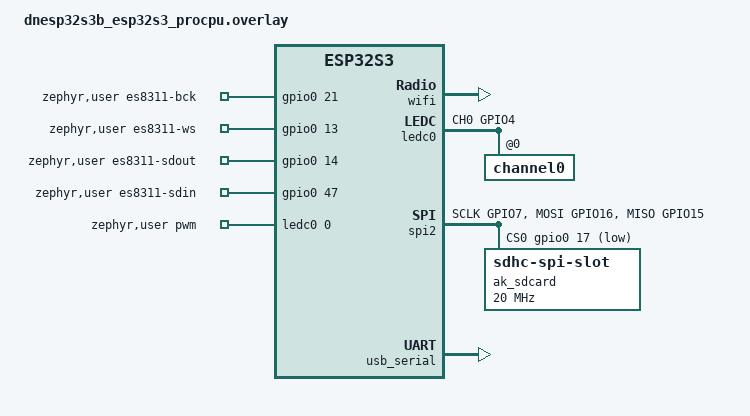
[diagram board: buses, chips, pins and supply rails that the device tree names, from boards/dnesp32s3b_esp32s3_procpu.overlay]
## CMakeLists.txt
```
# SPDX-License-Identifier: Apache-2.0
# atkbench（K1）：ATK DNESP32-S3B V1.1 bring-up + 第二 cube 部署链载体
# （K 批主载体：ES8311 音频 / 信任链 E2E / SD 资源推送 / 多真机 LN）。
# 凭证与路由地址经 cmake 变量注入（本地脚本传入，不入仓库——deploybench 同纪律）：
#   west build ... -- -DATKBENCH_WIFI_SSID=... -DATKBENCH_WIFI_PASSWORD=... \
#                    -DATKBENCH_ROUTER='"tcp/192.168.2.91:9955"'
cmake_minimum_required(VERSION 3.20.5)
find_package(Zephyr REQUIRED HINTS $ENV{ZEPHYR_BASE})
project(atkbench)

# F3-1 空凭据守卫（真机回归链教训）：SSID 为空 = 烤入空串 → net_mgmt
# 校验 -22 → WiFi 永不关联 → NET wdt 复位循环（症状与硬件无关——
# 归因期背光/lcd_cam/堆假设连环误判，实为构建注入空）。直接失败构建。
if(NOT DEFINED ATKBENCH_WIFI_SSID OR ATKBENCH_WIFI_SSID STREQUAL "")
  message(FATAL_ERROR "ATKBENCH_WIFI_SSID 为空——用 -DATKBENCH_WIFI_SSID=... 注入（仓外凭据纪律）")
endif()

target_compile_definitions(app PRIVATE
  ATKBENCH_WIFI_SSID="${ATKBENCH_WIFI_SSID}"
  ATKBENCH_WIFI_PASSWORD="${ATKBENCH_WIFI_PASSWORD}"
  ATKBENCH_ROUTER="${ATKBENCH_ROUTER}")
# TLS-E2E 助推旗标（外设失联降级告警——缺省不定义 = 判据不变；plan v1.104）
if(DEFINED ATKBENCH_SKIP_PERIPH_FAIL)
  target_compile_definitions(app PRIVATE ATKBENCH_SKIP_PERIPH_FAIL=1)
endif()

target_sources(app PRIVATE src/main.c src/ui_lcd.c)
```

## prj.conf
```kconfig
# SPDX-License-Identifier: Apache-2.0
# deploybench（板级十）：Agent→真机完整部署 E2E 板侧载体。
# 组合 = netbench（WiFi+zenoh+命令面）+ persistbench（flash 后端+WAMR+分步
# 安装）。prov 首启经 TS_TEST 烧入 flash（此后每次复位出自 flash——板级五
# 语义）；APP 由 Agent 侧经 zenoh 分块部署（client.py 复用 Agent deploy 链）。

# Tessera 框架（部署面全量：net + WAMR 运行时 + flash store）
CONFIG_TS_CORE=y
CONFIG_TS_SAFETY=y
CONFIG_TS_HAL=y
CONFIG_TS_NET=y
CONFIG_TS_NET_ZENOH=y
CONFIG_TS_TEST=y
CONFIG_TS_APP_WAMR=y
CONFIG_TS_STORE=y
CONFIG_FLASH=y
CONFIG_FLASH_MAP=y
CONFIG_TS_STORE_FLASH=y
CONFIG_REBOOT=y

# zenoh-pico（DR-22 钉 1.10.1；netbench 同档）
CONFIG_ZENOH_PICO=y
CONFIG_ZENOH_PICO_PUBLICATION=y
CONFIG_ZENOH_PICO_SUBSCRIPTION=y
CONFIG_ZENOH_PICO_QUERYABLE=y
CONFIG_ZENOH_PICO_LINK_TCP=y
CONFIG_ZENOH_PICO_LINK_UDP_UNICAST=y
CONFIG_ZENOH_PICO_MULTI_THREAD=y
CONFIG_POSIX_API=y

# 网络：WiFi STA + DHCPv4 + lwIP（netbench 同档）
CONFIG_NETWORKING=y
CONFIG_NET_L2_ETHERNET=y
CONFIG_NET_IPV4=y
CONFIG_NET_ARP=y
CONFIG_NET_UDP=y
CONFIG_NET_TCP=y
CONFIG_NET_SOCKETS=y
CONFIG_NET_DHCPV4=y
CONFIG_DNS_RESOLVER=y
CONFIG_WIFI=y
# NET_MAX_CONTEXTS 权威 = 板级 conf 4（R2 时代 RCVTIMEO 静态面实证——
# prj.conf 声明≠生效，MP R0 纪律：查 .config）

# MP 首应用（2026-10-19 审计 R4 处置）：TX 动态池上限 32→16——峰值堆压
# 51.2K→25.6K（系统堆 58368 的 50% 线内），wifi TX 突发 ENOMEM 噪声缓解
#（部署分块突发期 esp32_wifi_adapter allocation failed——FIX-1 残余）。
CONFIG_ESP32_WIFI_DYNAMIC_TX_BUFFER_NUM=16

# 板级专项（BV1-R C6 破案 2026-10-19）：rx_q[0] 栈溢出 FATAL（缺省 1500B
# 被部署突发压穿）。修复 = rx 栈 4096。
# 注：ESP32_WIFI_STATIC_TX_BUFFER 两轮实测均劣化（+SPIRAM heap = 关联活
# 数据面死〔RX DMA 缓冲入 PSRAM → DHCP 不可达〕；单用 = 关联直接失败
# rc=-134——4.5-rc1 驱动/hal 双层 TX buffer Kconfig 映射存疑），撤回；
# wifi TX 维持 DYNAMIC，ENOMEM 缓解随 map 重平专项。
# rx_q 线程栈 1500→4096——FATAL 直接死因防护
CONFIG_NET_RX_STACK_SIZE=4096

# zenoh-pico 会话/读任务内存（netbench 档位；堆值权威 = 板级 conf 58368——
# prj.conf 声明值被 boards/*.conf 覆盖，声明≠生效（MP R0 陷阱，查 .config）
CONFIG_MAIN_STACK_SIZE=8192
CONFIG_THREAD_STACK_INFO=y
CONFIG_DYNAMIC_THREAD=y
CONFIG_DYNAMIC_THREAD_ALLOC=y
CONFIG_DYNAMIC_THREAD_PREFER_ALLOC=y
CONFIG_DYNAMIC_THREAD_STACK_SIZE=8192
CONFIG_POSIX_THREAD_THREADS_MAX=8
CONFIG_MAX_PTHREAD_MUTEX_COUNT=16
CONFIG_MAX_PTHREAD_COND_COUNT=16

CONFIG_ENTROPY_GENERATOR=y
CONFIG_PRINTK=y
# 主线程降优先级（bench 同款：net_wq 8 / APP 10 优先于观测线程）
CONFIG_MAIN_THREAD_PRIORITY=15

# K3 前置：信任根表分区上板（atkbench = 信任链真机 E2E 载体）
CONFIG_TS_STORE_TRUST=y

# K2（Q-44/DEC-61）：ES8311 音频输入输出（av 面 + 全 codec 后端 + I2C 控制）
CONFIG_TS_HAL_AV=y
CONFIG_TS_DRV_ES8311=y
CONFIG_I2C=y

# K4（net+SD 资源推送 E2E）：SD 卡栈（dsdbench 同款——atk 板载 TF 槽 SPI2）
# + ts-fs 面（fs natives + fs_paths manifest 门）
CONFIG_TS_HAL_FS=y
CONFIG_DISK_ACCESS=y
CONFIG_DISK_DRIVERS=y
CONFIG_DISK_DRIVER_SDMMC=y
CONFIG_SDHC=y
CONFIG_SPI_SDHC=y
CONFIG_FILE_SYSTEM=y
CONFIG_FAT_FILESYSTEM_ELM=y
CONFIG_FS_FATFS_LFN=y
CONFIG_TS_PERIPH=y

# F3（DEC-62② owner 修订）：LCD 本地确认路呈现面 = LVGL（树内 ST7789V 走
# esp32 lcd_cam 并口 MIPI-DBI——板 DTS chosen 已挂；背光 = XL9555 P0-7
# 裸 I2C〔pca9555 驱动维持禁用——K2 es8311 互踩规避同源〕）。呈现属设备
# 形态面非安全面（R10 §6）；文本面 ASCII（Montserrat 14——CJK 字库不入 V1）。
CONFIG_DISPLAY=y
CONFIG_LVGL=y
CONFIG_LV_USE_LABEL=y
CONFIG_LV_FONT_MONTSERRAT_14=y
# DRAM 预算（F3-1 三轮实证）：LV_MEM_SIZE_KILOBYTES 为死配置（glue 强制
# LV_STDLIB_CUSTOM）；LVGL 全部分配走 LV_Z_MEM_POOL——**2048 缺省/6144 均
# 运行时崩**（cache/theme 样式 NULL 写，EXCCAUSE 29/28 真机实证），
# **16384 = 运行时下限**（全链绿实证）；HEAP_LIB_C 路径亦崩（上游域）。
# VDB 3%（≈4.6KB 静态）。WiFi 归因更正：恒 -22 = 空凭据烤入（env.sh 变量
# 名 TS_WIFI_* 非 DEPLOYBENCH_*——CMakeLists 已加空凭据守卫）。
CONFIG_LV_Z_MEM_POOL_SYS_HEAP=y
CONFIG_LV_Z_MEM_POOL_SIZE=16384
CONFIG_LV_Z_VDB_SIZE=1

# P1-2（DEC-63）：TLS mTLS 命令面（tls/ locator + prov 15 键三元组）。
# ZENOH_PICO_LINK_TLS = 仓携带补丁面（ext/zenoh-pico-tls.patch——上游 1.10.1
# Zephyr 集成缺特性行，DEC-63①）；内容长钳 4096（握手面 EC 证书链 <4KB 实测）
# + mbedtls 专用静态堆 16KB（握手缓冲有界化——Q-47⑤ 内存纪律：不与系统池混跑）。
CONFIG_ZENOH_PICO_LINK_TLS=y
CONFIG_TS_NET_TLS=y
CONFIG_MBEDTLS=y
# 实测设计事实（DEC-63④ E2E 期定案）：zenohd 1.10.1（rustls）**仅收 TLS1.3**
# （TLS1.2-only 客户端 alert 70——openssl s_client 实证）；板侧双协议使能
# （1.3 对 zenohd，1.2 留未来服务端）
CONFIG_MBEDTLS_SSL_PROTO_TLS1_2=y
CONFIG_MBEDTLS_SSL_PROTO_TLS1_3=y
CONFIG_MBEDTLS_SSL_TLS1_3_KEY_EXCHANGE_MODE_EPHEMERAL_ENABLED=y
CONFIG_MBEDTLS_X509_CRT_PARSE_C=y
# ECDHE-ECDSA + AES-128-GCM-SHA256 相干集（DEC-63⑤ 有界化——伞形全集会被
# Kconfig 依赖链要求 RSA/JPAKE 等额外 PSA want，flash 代价大）
CONFIG_MBEDTLS_KEY_EXCHANGE_ECDHE_ECDSA_ENABLED=y
CONFIG_PSA_WANT_ALG_GCM=y
CONFIG_PSA_WANT_KEY_TYPE_AES=y
# tf-psa-crypto 相干集（EC P-256 全链：X509 解析 → PK → ECDHE-ECDSA）
CONFIG_PSA_WANT_KEY_TYPE_ECC_PUBLIC_KEY=y
CONFIG_PSA_WANT_KEY_TYPE_ECC_KEY_PAIR_IMPORT=y
CONFIG_PSA_WANT_ALG_ECDH=y
CONFIG_PSA_WANT_ALG_ECDSA=y
CONFIG_PSA_WANT_ALG_SHA_256=y
CONFIG_PSA_WANT_ECC_SECP_R1_256=y
# TLS1.3 key_share 缺省组含 X25519（rustls 服务端亦偏好）——PSA want 缺失
# = 板侧握手本地失败（zenohd 无到达痕迹实证）；SHA-384 = 握手转录面补齐
CONFIG_PSA_WANT_ECC_MONTGOMERY_255=y
CONFIG_PSA_WANT_ALG_SHA_384=y
CONFIG_MBEDTLS_SSL_IN_CONTENT_LEN=4096
CONFIG_MBEDTLS_SSL_OUT_CONTENT_LEN=4096
CONFIG_MBEDTLS_ENABLE_HEAP=y
# 31744→24576（V0.16.0 平移批：现行 prov = 明文 tcp/9957 形态，TLS 面闲置——
# 对位释放 7168B 补 v4.5.0 final 静态面涨幅；TLS 形态复验时回抬）
CONFIG_MBEDTLS_HEAP_SIZE=24576
# PSA key slot 16→4（同上平移批——bench/zenoh 面双 key 足够；slot 结构
# 数百 B/个静态）+ net pkt 14→12（单 context 单连接 bench 口径）
CONFIG_MBEDTLS_PSA_KEY_SLOT_COUNT=4
CONFIG_NET_PKT_RX_COUNT=12
CONFIG_NET_PKT_TX_COUNT=12
CONFIG_NET_BUF_RX_COUNT=24
CONFIG_NET_BUF_TX_COUNT=24
CONFIG_MBEDTLS_BASE64_C=y
```

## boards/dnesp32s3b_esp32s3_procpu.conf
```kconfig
# SPDX-License-Identifier: Apache-2.0
# K1：ATK DNESP32-S3B 内存/后端片段 = deploybench 同档（PSRAM 八线 8MB +
# WAMR 256KB 入 PSRAM + 系统池 netbench 档）。K5：large 档开放（槽 256KB
# + LOAD_MAX 262144 + 装载缓冲 PSRAM 化——caps.tiers 自报 [small,large]）。
CONFIG_ESP_SPIRAM=y
CONFIG_SPIRAM_MODE_OCT=y
CONFIG_ESP_SPIRAM_MEMTEST=y
CONFIG_TS_APP_PSRAM_HEAP=y
CONFIG_TS_APP_WAMR_HEAP=524288
CONFIG_TS_STORE_SLOT_SIZE=524288
# K1 122880 → F3-1 102400 → P1 批 98304 → P1-2 TLS 69632：LVGL 呈现面
# （16KB 专用池 + VDB + UI 线程栈）+ P1 静态面（msg FIFO/perm 名单）+
# **TLS 面**（mbedtls 专用堆 16KB + prov_tls 1.8KB + glue b64 暂存 2.7KB
# + PSA/ssl 静态——DEC-63⑤ 重平，溢出 5660B 实证驱动）。WiFi -22 归因
# 更正 = 空凭据烤入（非堆不足——CMakeLists 守卫防再犯）。
# → V0.16.0 平移 58368 → 50176 → 41984（Zephyr v4.5.0-rc1 → v4.5.0 正式
# 版收口静态面再涨——dram0 溢出 6716B→-8192 后余溢 4732B→再 -8192 构建绿；
# bss 大头 mbedtls 31KB/tessera 18.8KB/lvgl 16.6KB 无单域暴涨 = 全域累积。
# 构建级判定，真机复验待凭据配置后重烧）。
CONFIG_HEAP_MEM_POOL_SIZE=61440
# R2（DEC-64②）：RCVTIMEO 静态面（net_context 选项 + sockets rodata）溢出
# 140B 实证驱动——bench 仅 1 条 zenoh context，12→4 释放富余（每 context
# 数百 B 静态数组）。
CONFIG_NET_MAX_CONTEXTS=4
CONFIG_TS_APP_LOAD_MAX=262144
CONFIG_TS_APP_PSRAM_LOAD_BUF=y
# PWM 后端（板载 LEDB = IO4；deploybench 同款绑定）
CONFIG_PWM=y
CONFIG_TS_DRV_PWM=y
CONFIG_TS_SAFETY_MAX_CHANNELS=4
# 验签双区 scratch + 8192 主栈（4.5 帧深防御——教训 31⑤ 同型）
CONFIG_MAIN_STACK_SIZE=8192
# 双实例并行 + 槽池 4（overlay 槽 c/d）+ kv
CONFIG_TS_APP_MAX_INSTANCES=2
CONFIG_TS_STORE_SLOT_COUNT=4
CONFIG_TS_APP_THREAD_STACK=8192
CONFIG_TS_STORE_KV=y
CONFIG_TS_VERIFY_SCRATCH=430080
CONFIG_TS_APP_PSRAM_VERIFY_BUF=y
CONFIG_ESP_SPIRAM_HEAP_SIZE=4194304
CONFIG_ESPTOOLPY_FLASHSIZE_8MB=y
# R5-V①（DEC-65）：pico pthread 栈池 4→2——执行器单线程设计（单 executor
# 轮转 read/lease/keep-alive 三 fut，一槽运行一槽备援），每槽 8192 =
# MAIN_STACK 同源（system.c Z_PTHREAD_STACK_SIZE_DEFAULT）。省 16384B
# 静态 DRAM（map 实证 = system.c 32KB 大头）换 shell/log 静态面 + 堆余量。
CONFIG_ZENOH_PICO_THREADS_NUM=2
# R5-V②（DEC-65①）：单 UART 三合一——SHELL+SHELL_LOG_BACKEND+LOG 汇
# printk 正牌路径；CONSOLE=n 防双路；IMMEDIATE（无 log 线程栈，DRAM 省
# ~2KB；日志序与终端序一致）。
CONFIG_SHELL=y
CONFIG_SHELL_LOG_BACKEND=y
CONFIG_LOG=y
CONFIG_LOG_MODE_IMMEDIATE=y
CONFIG_LOG_PRINTK=y
CONFIG_CONSOLE=n
CONFIG_TS_INTERACT=y
# R5-V③ 真机定案：shell 栈 2048 缺省装不下 confirm 链（stage_commit 的
# meta flash 写 + shell_print——2026-10-18 EXCCAUSE 0 野跳 FATAL，AKP2 后
# 即崩实证）→ 4096（重平余量内）；SENTINEL = 溢出从静默腐蚀变点名 FATAL。
CONFIG_SHELL_STACK_SIZE=4096
CONFIG_STACK_SENTINEL=y
# R5-V③ 真机定案（SENTINEL 点名）：sysworkq 栈 = 板缺省 1024，WiFi/DHCP
# 事件在 zenoh 建链窗溢出（boot+7s Stack overflow on sysworkq 实证）——
# 此前无 SENTINEL 即静默腐蚀（同象嫌疑：EXCCAUSE 0 野跳族）→ 4096。
CONFIG_SYSTEM_WORKQUEUE_STACK_SIZE=4096
```

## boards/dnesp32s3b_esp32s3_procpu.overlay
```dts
/*
 * K1：ATK DNESP32-S3B V1.1（dnesp32s3b 目标）。板事实 = owner 原理图/
 * 引脚表（/home/emb/docs/atk_dnesp32s3B，仓外）+ 树内板文件核实：
 * 16MB flash（AMP 16M 布局——与 xiao 的 4M 式布局不同，slot1 =
 * 0x5F0000..0xBC0000）、8MB 八线 PSRAM、WiFi、console uart0（经 CH340）。
 * ts-store 分区 carved 自 slot1 空闲区（boot/sys/slot0/appcpu/lpcore/
 * storage 原样保留，esptool 偏移零变化）；4KB 对齐 = esp32s3 擦除块；
 * 尺寸耦合 slot = CONFIG_TS_STORE_SLOT_SIZE（part.c BUILD_ASSERT 把关）。
 * K3 前置一步到位：ts_trust 8KB（双副本 2×4KB——Q-43③）。
 * 板载 LEDB = IO4（PWM demo 判据绑定——deploybench 同型）。
 */
#include <zephyr/dt-bindings/pinctrl/esp32s3-pinctrl.h>

&wifi {
	status = "okay";
};

&pinctrl {
	ak_ledc0: ak_ledc0 {
		group1 {
			pinmux = <LEDC_CH0_GPIO4>;
			output-enable;
		};
	};

	/* K4（SD = 板载 TF 槽 @ SPI2——引脚分配表：SCK=IO7/MISO=IO15/
	 * MOSI=IO16/CS=IO17；dsdbench 同型 sdhc-spi-slot） */
	ak_spi2_sd: ak_spi2_sd {
		group1 {
			pinmux = <SPIM2_SCLK_GPIO7>,
				 <SPIM2_MOSI_GPIO16>;
			output-enable;
		};
		group2 {
			pinmux = <SPIM2_MISO_GPIO15>;
			input-enable;
			bias-pull-up;
		};
	};
};

&ledc0 {
	status = "okay";
	pinctrl-0 = <&ak_ledc0>;
	pinctrl-names = "default";
	#address-cells = <1>;
	#size-cells = <0>;
	channel0@0 {
		reg = <0x0>;
		timer = <0>;
	};
};

&spi2 {
	status = "okay";
	#address-cells = <1>;
	#size-cells = <0>;
	pinctrl-0 = <&ak_spi2_sd>;
	pinctrl-names = "default";
	cs-gpios = <&gpio0 17 GPIO_ACTIVE_LOW>;

	ak_sdcard: sdcard@0 {
		compatible = "zephyr,sdhc-spi-slot";
		reg = <0>;
		status = "okay";

		mmc {
			compatible = "zephyr,sdmmc-disk";
			disk-name = "SD";
			status = "okay";
		};

		spi-max-frequency = <20000000>;
	};
};

/delete-node/ &slot1_partition;

/* 板载真硅 = boya 16MB（bootloader 实报 + esptool JEDEC 0x68:0x4018——
 * 2026-10-17 二次勘误，前「gd 8MB」登记翻案；本表 8MB reg 声明为保守
 * 兼容形态：全部分区 <8MB，16MB 硅上仅用下半，功能等价）。
 * console = USJ（曾因全量重建回退 console=uart0 造成"启动停滞"假象——
 * dev-env 教训 38。2026-10-17 修正注记：uart0/CH343 打印路实测可用
 * 〔教训 38 修正——dev-env v2.28〕，console=uart0 为可运营替代形态，
 * 烧录/复位可经 CH343 与 console 解耦。） */
&usb_serial {
	status = "okay";
};

/ {
	chosen {
		zephyr,console = &uart0;
		zephyr,shell-uart = &uart0;
	};
};

&flash0 {
	reg = <0x0 0x800000>;

	partitions {
		ts_prov_part: partition@5f0000 {
			compatible = "zephyr,mapped-partition";
			label = "ts-prov";
			reg = <0x5f0000 0x1000>;
		};
		ts_meta_part: partition@5f1000 {
			compatible = "zephyr,mapped-partition";
			label = "ts-meta";
			reg = <0x5f1000 0x2000>;
		};
		/* K5（large 档）：槽统一 512KB（COSE 内嵌载荷副本 = 包 ≈2×wasm——256KB wasm 上限需 512KB 槽）（GATE_LARGE 同级——LOAD_MAX 同步
		 * 262144 + PSRAM 装载缓冲；既有 32KB 槽池布局重排，prov/meta
		 * 原位不动〔存量 trust/kv/noinit 内容随重刷重建〕） */
		ts_slot_a_part: partition@5f3000 {
			compatible = "zephyr,mapped-partition";
			label = "ts-slot-a";
			reg = <0x5f3000 0x80000>;
		};
		ts_slot_b_part: partition@673000 {
			compatible = "zephyr,mapped-partition";
			label = "ts-slot-b";
			reg = <0x673000 0x80000>;
		};
		/* 双实例槽池（Q-32②）：entry1 双槽乒乓对 {2,3} */
		ts_slot_c_part: partition@6f3000 {
			compatible = "zephyr,mapped-partition";
			label = "ts-slot-c";
			reg = <0x6f3000 0x80000>;
		};
		ts_slot_d_part: partition@773000 {
			compatible = "zephyr,mapped-partition";
			label = "ts-slot-d";
			reg = <0x773000 0x80000>;
		};
		ts_noinit_part: partition@7f3000 {
			compatible = "zephyr,mapped-partition";
			label = "ts-noinit";
			reg = <0x7f3000 0x1000>;
		};
		/* APP 状态 kv 8KB（DR-15） */
		ts_kv_part: partition@7f4000 {
			compatible = "zephyr,mapped-partition";
			label = "ts-kv";
			reg = <0x7f4000 0x2000>;
		};
		/* K3（Q-43③）：信任根表 8KB（双副本 2×4KB 乒乓） */
		ts_trust_part: partition@7f6000 {
			compatible = "zephyr,mapped-partition";
			label = "ts-trust";
			reg = <0x7f6000 0x2000>;
		};
		/* fw-b：未来 MCUmgr 固件第二 slot 预留（DEC-23；V1 未接线） */
		fw_b_part: partition@7f8000 {
			label = "fw-b";
			reg = <0x7f8000 0x3c8000>;
		};
	};
};

/* K2：ES8311 音频四引脚（owner V1.1 引脚表：BCK=21/WS=13/SDOUT=14/SDIN=47）
 * + XL9555 禁用（SPK_EN 裸 I2C 驱动——pca9555 驱动缓存互踩规避）。
 * F3-1 连带：lcd_bl regulator 节点也引用 io_expander——背光同走裸 I2C
 * （ui_lcd.c：XL9555 OP0=0x02/CF0=0x06 bit7 高有效），节点随之禁用。 */
&io_expander {
	status = "disabled";
};

&lcd_bl {
	status = "disabled";
};

/ {
	zephyr,user {
		/* PWM 后端绑定（板级九模式）：uid 匹配通道逻辑名 */
		pwm-uid = "akpwm";
		pwms = <&ledc0 0 1000000 0>;
		/* ES8311 I2S 面（es8311.c 消费——pdm.c 同族 DT 纪律） */
		es8311-bck-gpios = <&gpio0 21 0>;
		es8311-ws-gpios = <&gpio0 13 0>;
		es8311-sdout-gpios = <&gpio0 14 0>;
		es8311-sdin-gpios = <&gpio0 47 0>;
	};
};
```

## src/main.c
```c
/* SPDX-License-Identifier: Apache-2.0 */
/* atkbench（K1）：ATK DNESP32-S3B bring-up + 第二 cube 部署链载体
 * （docs/board-deploy.md）。链路：WiFi STA（glue = netbench 板级七定稿：
 * 固定 2s 无抖动重试 + 断线 DHCP 重启 + media_down 下沉）→ prov flash 持久
 * （首启 TS_TEST 烧入，此后复位全出自 flash——板级五语义）→ ts_core_boot
 * （net_init → zenoh 命令面〔sys/app-* 分步安装链〕+ 步骤 8 slot 装载）。
 * 部署编排全部在 Agent 侧（client.py 复用 deploy 链：发现→租约→分块→
 * verify→activate→get-app）；板侧只做：激活检测 → 自动暖复位 → 复位后
 * APP 自 slot 装载运行的观测宣告。
 *
 * AK* console 行 = 板侧时间线（deploybench 同型）；DEPLOY_* = client 侧判定。
 * 凭证经 cmake 变量注入（ATKBENCH_WIFI_*，不入仓库）。 */
#include <string.h>
#include <zephyr/drivers/gpio.h>
#include <zephyr/kernel.h>
#include <zephyr/net/net_event.h>
#include <zephyr/net/net_if.h>
#include <zephyr/net/net_mgmt.h>
#include <zephyr/net/wifi_mgmt.h>
#include <zephyr/net/dhcpv4.h> /* 须在 net_if.h 之后（参数表内 struct net_if 可见性） */
#include <zephyr/sys/atomic.h>
#include <zephyr/sys/reboot.h>
#include <ff.h>
#include <zephyr/fs/fs.h>
#include <ts/appmgr.h>
#include <ts/core.h>
#include <ts/hal.h>
#ifdef CONFIG_TS_PERIPH
#include <ts/periph.h> /* F4：peripherals 自报 */
#endif
#include <ts/net.h>
#include <ts/safety.h>
#include <ts/store.h>

#include "ui_lcd.h" /* F3-1：LCD 呈现面（LVGL） */

#ifndef ATKBENCH_WIFI_SSID
#define ATKBENCH_WIFI_SSID ""
#endif
#ifndef ATKBENCH_WIFI_PASSWORD
#define ATKBENCH_WIFI_PASSWORD ""
#endif
#ifndef ATKBENCH_ROUTER
#define ATKBENCH_ROUTER "tcp/192.168.2.91:9955"
#endif

/* ---- WiFi glue（netbench 板级七定稿模式，全文照搬语义） ------------------ */

static struct net_mgmt_event_callback ip_cb;
static struct net_mgmt_event_callback wifi_cb;
static struct k_sem ip_ready;
static atomic_t assoc_ok_evt;
static atomic_t disconn_evt;
static struct k_work_delayable wifi_retry_work;
static struct k_work assoc_work;
static struct wifi_connect_req_params cnx;

static void wifi_try_connect(struct k_work *w)
{
	ARG_UNUSED(w);
	int rc = net_mgmt(NET_REQUEST_WIFI_CONNECT, net_if_get_default(),
			  &cnx, sizeof(cnx));

	if (rc != 0) {
		k_work_reschedule(&wifi_retry_work, K_SECONDS(2));
	}
}

static void wifi_assoc_work(struct k_work *w)
{
	/* net_mgmt 一律工作项上下文（回调内重入自激——板级七实证） */
	ARG_UNUSED(w);
	struct net_if *iface = net_if_get_default();

	if (atomic_set(&disconn_evt, 0) == 1) {
		ts_net_session_media_down();
		net_dhcpv4_restart(iface);
		k_work_reschedule(&wifi_retry_work, K_SECONDS(2));
	}
	if (atomic_set(&assoc_ok_evt, 0) == 1) {
		struct wifi_ps_params ps = {.enabled = WIFI_PS_DISABLED};

		(void)net_mgmt(NET_REQUEST_WIFI_PS, iface, &ps, sizeof(ps));
		printk("AKw associated t=%u\n", (unsigned)k_uptime_get_32());
	}
}

static void ip_handler(struct net_mgmt_event_callback *cb, uint64_t event,
		       struct net_if *iface)
{
	ARG_UNUSED(cb);
	if (event == NET_EVENT_IPV4_ADDR_ADD && net_if_is_up(iface)) {
		k_sem_give(&ip_ready);
	}
}

static void wifi_handler(struct net_mgmt_event_callback *cb, uint64_t event,
			 struct net_if *iface)
{
	ARG_UNUSED(iface);
	if (event == NET_EVENT_WIFI_CONNECT_RESULT) {
		const struct wifi_status *st =
			(const struct wifi_status *)cb->info;

		if (st != NULL && st->status == 0) {
			atomic_set(&assoc_ok_evt, 1);
		}
	} else if (event == NET_EVENT_WIFI_DISCONNECT_RESULT) {
		atomic_set(&disconn_evt, 1);
	}
	if (atomic_get(&assoc_ok_evt) == 1 || atomic_get(&disconn_evt) == 1) {
		k_work_submit(&assoc_work);
	}
}

/* {"v":1,"node_id":"akn","cube_id":"akc","routers":["tcp/192.168.2.91:9955"],
 *  "pk0":32×00,"pk1":32×00,"cred":"","pwr_ma":500,"estop":0}（定稿键序，
 *  prov.c 固定走查序）。**数组 = 脚本机械生成**（~/project/logs/gen_prov_image.py
 *  ——gen_db_prov.py 迁移失落后的重写；手抄禁令，教训 27）。pk 全零：V1
 *  固件验签 = COSE 结构级（K2 后 ES8311/信任链载体——真验签链已在，
 *  K3 信任表上线后实机多根）。 */
/* v2 12 对形态（F3 · DEC-62①）：v1 前缀 + deploy_mode=orchestrated +
 * estop_remote_clear=0（本地清除板）+ lconf=1（安装闸开——真机判据
 * 载体）。**数组 = 脚本机械生成**（~/project/logs/gen_prov_image.py；
 * 手抄禁令，教训 27）。pk 全零：TEST 有效集 = 测试根 ∪ 信任表（K3）。 */
/* 机械生成（gen_prov_image.py——重跑复现；禁手抄，教训 27） */
static const uint8_t prov_blob[] = {
	0xac, 0x61, 0x76, 0x02, 0x67, 0x6e, 0x6f, 0x64, 0x65, 0x5f, 0x69, 0x64,
	0x63, 0x61, 0x6b, 0x6e, 0x67, 0x63, 0x75, 0x62, 0x65, 0x5f, 0x69, 0x64,
	0x63, 0x61, 0x6b, 0x63, 0x67, 0x72, 0x6f, 0x75, 0x74, 0x65, 0x72, 0x73,
	0x81, 0x75, 0x74, 0x63, 0x70, 0x2f, 0x31, 0x39, 0x32, 0x2e, 0x31, 0x36,
	0x38, 0x2e, 0x32, 0x2e, 0x39, 0x31, 0x3a, 0x39, 0x39, 0x35, 0x35, 0x63,
	0x70, 0x6b, 0x30, 0x58, 0x20, 0x00, 0x00, 0x00, 0x00, 0x00, 0x00, 0x00,
	0x00, 0x00, 0x00, 0x00, 0x00, 0x00, 0x00, 0x00, 0x00, 0x00, 0x00, 0x00,
	0x00, 0x00, 0x00, 0x00, 0x00, 0x00, 0x00, 0x00, 0x00, 0x00, 0x00, 0x00,
	0x00, 0x63, 0x70, 0x6b, 0x31, 0x58, 0x20, 0x00, 0x00, 0x00, 0x00, 0x00,
	0x00, 0x00, 0x00, 0x00, 0x00, 0x00, 0x00, 0x00, 0x00, 0x00, 0x00, 0x00,
	0x00, 0x00, 0x00, 0x00, 0x00, 0x00, 0x00, 0x00, 0x00, 0x00, 0x00, 0x00,
	0x00, 0x00, 0x00, 0x64, 0x63, 0x72, 0x65, 0x64, 0x60, 0x66, 0x70, 0x77,
	0x72, 0x5f, 0x6d, 0x61, 0x19, 0x01, 0xf4, 0x65, 0x65, 0x73, 0x74, 0x6f,
	0x70, 0x00, 0x6b, 0x64, 0x65, 0x70, 0x6c, 0x6f, 0x79, 0x5f, 0x6d, 0x6f,
	0x64, 0x65, 0x00, 0x72, 0x65, 0x73, 0x74, 0x6f, 0x70, 0x5f, 0x72, 0x65,
	0x6d, 0x6f, 0x74, 0x65, 0x5f, 0x63, 0x6c, 0x65, 0x61, 0x72, 0x00, 0x65,
	0x6c, 0x63, 0x6f, 0x6e, 0x66, 0x01,
};
/* 198B（走查序由 ts_store_prov_validate 校验） */

/* APP 部署目标通道（gpio inst 0 = dbled；PWM inst 1 = dbpwm）
 * MD1.1 增 PWM 通道：D3 呼吸灯 demo 限幅判据（limits max = 5000Hz|700‰，
 * periphbench PP3 同款——超限请求 → 落 700‰ + 审计 res=TS_E_RANGE） */
static const ts_out_ch_t ak_led = {
	.uid = "akled", .kind = TS_CH_GPIO,
	.poweron = {.b = false}, .linkloss = {.b = false}, .fault = {.b = false},
};
static const ts_hal_dev_desc_t ak_dev = {
	.uid = "akled", .kind = TS_DEV_GPIO_OUT,
};
/* PWM 打包域（LLD-ts-hal §3）：高 16 = hz/100、低 16 = permille */
#define PWM_PACK(hz, pm) ((((hz) / 100U) << 16) | (pm))
static const ts_out_ch_t ak_pwm = {
	.uid = "akpwm", .kind = TS_CH_PWM,
	.poweron = {.u = PWM_PACK(1000, 0)},
	.linkloss = {.u = PWM_PACK(1000, 0)},
	.fault = {.u = PWM_PACK(1000, 0)},
	.limits = {.min = PWM_PACK(1000, 0), .max = PWM_PACK(1000, 700),
		   .slew_per_ms = 0},
};
static const ts_hal_dev_desc_t ak_pwm_dev = {
	.uid = "akpwm", .kind = TS_DEV_PWM,
};

/* ---- 部署观测线程：激活检测 → 暖复位 → APP 运行宣告 --------------------- */

/* K2（Q-44/DEC-61）：ES8311 音频输入输出真机自检（AKa* console 行）。
 * 录音判据 = 连续 8 帧非全零且峰值超阈（ADC 链活）；放音判据 = SPK_EN
 * 开 + 正弦帧写链 OK（声学侧由人耳/示波器确认——console 判据 = 驱动链）。*/
static void audio_selftest(void)
{
	int rc = ts_drv_es8311_init();

	printk("AKa0 es8311 init rc=%d\n", rc);
	if (rc != 0) {
		printk("AK AUDIO FAIL（无芯片/初始化拒——i2c/i2s 链见上）\n");
#ifdef ATKBENCH_SKIP_PERIPH_FAIL
		printk("AK WARN audio 降级（SKIP_PERIPH——TLS E2E）\n");
#endif
		return;
	}
	/* 静音保底：功放关断（NL 低有效——常静音态）。放音自检改
	 * ATKBENCH_AUDIO_PLAY 门控（默认关——板卡常驻安静；判据重跑 =
	 * cmake -DATKBENCH_AUDIO_PLAY=1）。 */
	ts_drv_es8311_spk(false);
	/* 录音：8 帧（160ms×8）——峰值统计 */
	static int16_t smp[320];
	uint32_t peak_all = 0;

	for (int f = 0; f < 8; f++) {
		int n = ts_drv_es8311_capture((uint8_t *)smp, 640);

		if (n != 640) {
			printk("AKa1 capture f=%d rc=%d\n", f, n);
			printk("AK AUDIO FAIL（录音链）\n");
			return;
		}
		uint32_t peak = 0;

		for (int i = 0; i < 320; i++) {
			uint32_t a = (smp[i] < 0) ? (uint32_t)(-smp[i]) : (uint32_t)smp[i];

			if (a > peak) {
				peak = a;
			}
		}
		if (peak > peak_all) {
			peak_all = peak;
		}
	}
	printk("AKa1 capture 8 frames peak=%u（>32 = ADC 链活）\n",
	       (unsigned)peak_all);
	if (peak_all <= 32) {
		printk("AKa1 frame head:");
		for (int i = 0; i < 16; i++) {
			printk(" %02x", ((uint8_t *)smp)[i]);
		}
		printk("\n");
		ts_drv_es8311_diag();
		/* 静默不早退——继续放音判据（二分：codec 整体死 vs ADC 特定静默）*/
	}
	/* 放音：SPK_EN 开 + 4 帧正弦（~1kHz：16 采样/周期 @16k）+ 关
	 * （ATKBENCH_AUDIO_PLAY 门控——默认关） */
#ifndef ATKBENCH_AUDIO_PLAY
	printk("AKa2 playback skipped（默认静音——ATKBENCH_AUDIO_PLAY=1 启用）\n");
	printk("AK AUDIO PASS（record-only，peak=%u）\n", (unsigned)peak_all);
	return;
#endif
	(void)ts_drv_es8311_spk(true);
	for (int f = 0; f < 4; f++) {
		for (int i = 0; i < 320; i++) {
			static const int16_t sin16[16] = {
				0, 12539, 23170, 30273, 32767, 30273, 23170, 12539,
				0, -12539, -23170, -30273, -32767, -30273, -23170, -12539,
			};

			smp[i] = sin16[i % 16] / 4; /* 幅度 -18dB（安全听感档）*/
		}
		int n = ts_drv_es8311_write((const uint8_t *)smp, 640);

		if (n != 640) {
			printk("AKa2 write f=%d rc=%d\n", f, n);
			printk("AK AUDIO FAIL（放音链）\n");
			return;
		}
	}
	k_msleep(150); /* 尾帧播完 */
	(void)ts_drv_es8311_spk(false);
	printk("AKa2 playback 4 sine frames + SPK_EN toggle OK\n");
	if (peak_all <= 32) {
		printk("AK AUDIO FAIL（录音静默但放音链 OK——ADC 侧配置域）\n");
		return;
	}
	printk("AK AUDIO PASS\n");
}

static void deploy_watch(void *p1, void *p2, void *p3)
{
	ARG_UNUSED(p1);
	ARG_UNUSED(p2);
	ARG_UNUSED(p3);
#ifdef CONFIG_TS_DRV_ES8311
	audio_selftest(); /* K2：上电即测（音频链独立于 zenoh）*/
#endif
	/* 等 zenoh 会话（WiFi+DHCP+zenoh 全链；上电首启 ~8s 量级） */
	for (int i = 0; i < 600 && ts_net_state() != TS_NET_CONNECTED; i++) {
		k_msleep(100);
	}
	if (ts_net_state() != TS_NET_CONNECTED) {
		printk("AK FAIL no session t=%u\n", (unsigned)k_uptime_get_32());
		return;
	}

	ts_app_info_t info;

	if (ts_appmgr_get_info(&info) != TS_OK) {
		return;
	}
	if (info.app_id[0] != '\0' && info.state == TS_APP_ACTIVE) {
		/* 复位后路径：步骤 8 已自 slot 装载并运行（Agent 侧 get-app
		 * 对拍 state=ACTIVE + app_id）。MD1.1 修复：运行中持续检测
		 * 后续激活（连续部署场景——板级十单次部署设计在 MD1 暴露：
		 * alive 循环不再看激活 = 第 2 个起 demo 永远 STAGED）。 */
		uint8_t loaded = info.active_slot;

		printk("AK6 app running app_id=%s slot=%u t=%u\n",
		       info.app_id, info.active_slot,
		       (unsigned)k_uptime_get_32());
		printk("AK PASS\n");
		for (int i = 0;; i++) {
			k_msleep(2000);
			ts_app_info_t cur;

			if (ts_appmgr_get_info(&cur) == TS_OK &&
			    cur.state == TS_APP_STAGED &&
			    cur.active_slot != loaded) {
				printk("AK4 activated slot=%u（2s 后暖复位装载）\n",
				       cur.active_slot);
				k_msleep(2000);
				printk("AK5 warm reboot\n");
				sys_reboot(SYS_REBOOT_WARM);
			}
			if (i % 5 == 0) {
				printk("AK alive t=%u net=%d\n",
				       (unsigned)k_uptime_get_32(),
				       (int)ts_net_state());
			}
		}
	}

	/* 首启路径：等 Agent 激活（stage 槽 ≠ 当前 meta 活动槽）→ 暖复位
	 * （激活语义：STAGED 待加载周期——运行需重启装载，persistbench 同型） */
	printk("AK3 deploy target ready slot=%u t=%u（等待 Agent 部署）\n",
	       info.active_slot, (unsigned)k_uptime_get_32());
	for (int i = 0;; i++) {
		k_msleep(300);
		ts_app_info_t cur;

		if (ts_appmgr_get_info(&cur) != TS_OK) {
			continue;
		}
		/* 观测盲区修复（P1 收口期实证：本分支 27 分钟静默被误读为板死
		 * ——与 AK PASS 分支同款 10s 存活行） */
		if (i % 33 == 32) {
			printk("AK alive t=%u net=%d（等待部署）\n",
			       (unsigned)k_uptime_get_32(), (int)ts_net_state());
		}
		if (cur.active_slot != info.active_slot &&
		    cur.state == TS_APP_STAGED) {
			printk("AK4 activated slot=%u（2s 后暖复位装载）\n",
			       cur.active_slot);
			k_msleep(2000);
			printk("AK5 warm reboot\n");
			sys_reboot(SYS_REBOOT_WARM);
		}
	}
}
K_THREAD_DEFINE(deploy_watch_tid, 4096, deploy_watch, NULL, NULL, NULL, 13, 0, 0);

/* ---- F1/F2 设备形态批：本地交互源（BOOT = IO0 低有效）--------------------
 * F1（本地交互源）：短按（<2s）→ arb 席位切换 REMOTE↔LOCAL——CG3 机制
 *（激活压制远程写 + ARB_CHANGED 事件 + 切换零输出）的真机接线。
 * F2（本地 estop 清除）：长按（≥2s）→ 本地清除链演示——[bench 合成
 * force akpwm（estop 面演示——物理 estop 无板载按键，合成触发如实标注）]
 * → ts_safety_clear_fault 本地路；远程清除已被 prov v2 estop_remote_clear=0
 * 关断（CG6 ISO 13850 偏离撤销形态——远程 sys/estop-clear = need local-clear）。 */
static const struct gpio_dt_spec ak_boot = GPIO_DT_SPEC_GET(DT_ALIAS(sw0), gpios);
static struct gpio_callback ak_boot_cb;
static struct k_work ak_key_work;
static atomic_t ak_key_down_ms;

/* ---- F3-2 安装闸呈现（DEC-62①③）：事件 → LCD + AKP 判据行 + 手势模态 ---- */
static void ak_gate_evt(const ts_evt_t *evt, void *user)
{
	ARG_UNUSED(user);
	const ts_pending_evt_t *pl = evt->data;

	switch (evt->id) {
	case TS_EVT_PENDING_INSTALL: {
		static char sum[320];
		int n = ts_appmgr_pending_summary(sum, sizeof(sum));

		printk("AKP1 pending install slot=%u entry=%u（短按=确认 长按≥2s=拒绝）\n",
		       pl->slot, pl->entry);
		if (n > 0) {
			/* summary \n 分隔 → 行数组（EC3：同一 manifest 数据面） */
			const char *lines[12];
			uint8_t nl = 0;
			char *w = sum;

			while (nl < 12) {
				lines[nl++] = w;
				char *brk = strchr(w, '\n');

				if (brk == NULL) {
					break;
				}
				*brk = '\0';
				w = brk + 1;
			}
			(void)ak_ui_screen("INSTALL PENDING", lines, nl);
		}
		break;
	}
	case TS_EVT_INSTALL_CONFIRMED: {
		printk("AKP2 install confirmed slot=%u（meta 已切换——暖复位装载）\n",
		       pl->slot);
		static const char *const ok[] = {
			"install confirmed", "meta switched", "warm reboot next",
		};

		(void)ak_ui_screen("INSTALL", ok, 3);
		break;
	}
	case TS_EVT_INSTALL_REJECTED: {
		printk("AKP3 install rejected slot=%u（槽保留可重推）\n", pl->slot);
		static const char *const rj[] = {
			"install rejected", "slot kept", "re-push to retry",
		};

		(void)ak_ui_screen("INSTALL", rj, 3);
		break;
	}
	case TS_EVT_INSTALL_TIMEOUT: {
		printk("AKP4 install timeout slot=%u（fail-closed 撤销）\n", pl->slot);
		static const char *const to[] = {
			"install timeout", "cancelled fail-closed", "re-push to retry",
		};

		(void)ak_ui_screen("INSTALL", to, 3);
		break;
	}
	default:
		break;
	}
}

static void ak_key_work_fn(struct k_work *w)
{
	ARG_UNUSED(w);
	uint32_t down = (uint32_t)atomic_get(&ak_key_down_ms);
	uint32_t held = k_uptime_get_32() - down;

	if (held < 50) {
		return; /* 抖动滤除 */
	}
	/* F3 手势模态（Q-46③）：pending 期短按=确认 / 长按≥2s=拒绝——模态
	 * 独占（与 F1 arb 切换互斥：pending 期不切席位）。确认/拒绝仅此本地路
	 *（无 zenoh 命令面 = 远程不可确认）。 */
	if (ts_appmgr_pending_active()) {
		if (held >= 2000) {
			ts_res_t r = ts_appmgr_reject_pending();

			printk("AKPR reject rc=%d（BOOT 长按本地路）\n", (int)r);
		} else {
			ts_app_info_t info;
			ts_res_t r = ts_appmgr_confirm_pending(&info);

			printk("AKPC confirm rc=%d slot=%u（BOOT 短按本地路——meta 已切换）\n",
			       (int)r, info.active_slot);
		}
		return;
	}
	if (held >= 2000) {
		printk("AKF1 bench 合成 force akpwm（estop 面演示触发）\n");
		int fr = ts_safety_force_channel_fault("akpwm");
		printk("AKF2 force rc=%d（通道入 SAFE_FAULT）\n", fr);
		k_msleep(400);
		ts_res_t cr = ts_safety_clear_fault();
		printk("AKC 本地 estop 清除 rc=%d（BOOT 长按本地路）\n", (int)cr);
	} else {
		ts_arb_owner_t cur = ts_safety_arb_owner();
		ts_arb_owner_t next = (cur == TS_ARB_REMOTE) ? TS_ARB_LOCAL : TS_ARB_REMOTE;
		ts_res_t r = ts_safety_set_arb(next);

		printk("AKL arb 席位切换 →%s rc=%d（本地交互源）\n",
		       next == TS_ARB_LOCAL ? "LOCAL" : "REMOTE", (int)r);
	}
}

static void ak_boot_isr(const struct device *port, struct gpio_callback *cb,
			uint32_t pins)
{
	ARG_UNUSED(port);
	ARG_UNUSED(cb);
	ARG_UNUSED(pins);
	int v = gpio_pin_get_raw(ak_boot.port, ak_boot.pin);

	if (v == 0) {
		atomic_set(&ak_key_down_ms, (atomic_val_t)k_uptime_get_32());
	} else {
		k_work_submit(&ak_key_work);
	}
}

static void ak_local_input_init(void)
{
	if (!gpio_is_ready_dt(&ak_boot)) {
		printk("AK FAIL boot key not ready\n");
		return;
	}
	gpio_pin_configure_dt(&ak_boot, GPIO_INPUT);
	gpio_pin_interrupt_configure_dt(&ak_boot, GPIO_INT_EDGE_BOTH);
	gpio_init_callback(&ak_boot_cb, ak_boot_isr, BIT(ak_boot.pin));
	gpio_add_callback_dt(&ak_boot, &ak_boot_cb);
	k_work_init(&ak_key_work, ak_key_work_fn);
	printk("AK8 本地交互源就绪（BOOT 短按=席位 长按=estop 演示链）\n");
}


int main(void)
{
	printk("AK0 atkbench start\n");

	struct net_if *iface = net_if_get_default();

	k_sem_init(&ip_ready, 0, 1);
	k_work_init_delayable(&wifi_retry_work, wifi_try_connect);
	k_work_init(&assoc_work, wifi_assoc_work);
	net_mgmt_init_event_callback(&ip_cb, ip_handler, NET_EVENT_IPV4_ADDR_ADD);
	net_mgmt_add_event_callback(&ip_cb);
	net_mgmt_init_event_callback(&wifi_cb, wifi_handler,
				     NET_EVENT_WIFI_CONNECT_RESULT |
				     NET_EVENT_WIFI_DISCONNECT_RESULT);
	net_mgmt_add_event_callback(&wifi_cb);

	static const uint8_t ssid[] = ATKBENCH_WIFI_SSID;
	static const uint8_t psk[] = ATKBENCH_WIFI_PASSWORD;

	cnx = (struct wifi_connect_req_params){
		.ssid = ssid,
		.ssid_length = sizeof(ssid) - 1,
		.psk = psk,
		.psk_length = sizeof(psk) - 1,
		.security = WIFI_SECURITY_TYPE_PSK,
		.channel = WIFI_CHANNEL_ANY,
		.band = WIFI_FREQ_BAND_2_4_GHZ,
		.mfp = WIFI_MFP_OPTIONAL,
	};

	int rc = net_mgmt(NET_REQUEST_WIFI_CONNECT, iface, &cnx, sizeof(cnx));

	printk("AK1 wifi_connect rc=%d\n", rc);
	if (k_sem_take(&ip_ready, K_SECONDS(40)) != 0) {
		/* F4（K3 夜间登记）：本 AP 对本板 DHCP 间歇不响应（5 启 4 败，
		 * tcpdump 证实 DISCOVER 后无 OFFER）。bench 级回退 = 静态地址
		 * （租约惯常值 .67），产品面 DHCP 语义不变。 */
		net_dhcpv4_stop(iface);
		static struct in_addr addr, netmask, gw;

		if (net_addr_pton(AF_INET, "192.168.2.67", &addr) == 0 &&
		    net_addr_pton(AF_INET, "255.255.255.0", &netmask) == 0 &&
		    net_addr_pton(AF_INET, "192.168.2.1", &gw) == 0 &&
		    net_if_ipv4_addr_add(iface, &addr, NET_ADDR_MANUAL, 0) != NULL &&
		    net_if_ipv4_set_netmask_by_addr(iface, &addr, &netmask)) {
			net_if_ipv4_set_gw(iface, &gw);
			printk("AK1s static fallback 192.168.2.67\n");
		} else {
			printk("AK FAIL dhcp timeout + static fallback error\n");
			return 1;
		}
	}

	/* prov：flash 后端首启烧入，此后复位直读（板级五语义）；netbench 是
	 * RAM 后端每次启动重烧——本载体换持久路径（部署目标不依赖测试注入） */
	ts_res_t lr = ts_store_prov_load();
	ts_res_t wr = (lr == TS_OK)
		? TS_OK
		: ts_store_prov_write_test(prov_blob, sizeof(prov_blob));

	printk("AK2 prov load=%d burn=%d（0=OK/-8=空）\n", (int)lr, (int)wr);
	if (wr != TS_OK) {
		printk("AK FAIL prov\n");
		return 1;
	}
	/* PWM 后端 init 须在通道注册前（板级九纪律：缺绑定 = -ENODEV 如实上报） */
	if (ts_drv_pwm_init() != 0) {
		printk("AK FAIL pwm init\n");
		return 1;
	}
	/* F4：输出通道/设备经 periph 责任链单源注册（直连双注册与链注册
	 * uid 撞表——链自含 safety 通道 + hal 寻址） */
#ifndef CONFIG_TS_PERIPH
	(void)ts_safety_register_channel(&ak_led);
	(void)ts_hal_register_dev(&ak_dev);
	(void)ts_safety_register_channel(&ak_pwm);
	(void)ts_hal_register_dev(&ak_pwm_dev);
#else
	ARG_UNUSED(0);
	/* F4：peripherals 自报注册（caps 块——板载外设清单） */
	static const ts_periph_desc_t ak_periphs[] = {
		{.uid = "akled", .kind = TS_PK_GPIO, .dt_spec = NULL,
		 .safe = {.uid = "akled", .kind = TS_CH_GPIO,
			  .poweron = {.b = false}, .linkloss = {.b = false},
			  .fault = {.b = false}}},
		{.uid = "akpwm", .kind = TS_PK_PWM, .dt_spec = NULL,
		 .safe = {.uid = "akpwm", .kind = TS_CH_PWM,
			  .poweron = {.u = PWM_PACK(1000, 0)},
			  .linkloss = {.u = PWM_PACK(1000, 0)},
			  .fault = {.u = PWM_PACK(1000, 0)},
			  .limits = {.min = PWM_PACK(1000, 0),
				     .max = PWM_PACK(1000, 700),
				     .slew_per_ms = 0}}},
#ifdef CONFIG_TS_DRV_ES8311
		{.uid = "akcodec", .kind = TS_PK_ADC, .dt_spec = NULL},
#endif
	};

	int prc = 0;

	for (size_t pi = 0; pi < sizeof(ak_periphs) / sizeof(ak_periphs[0]); pi++) {
		int r = ts_periph_register(&ak_periphs[pi]);
		if (r != TS_OK) {
			prc = r;
		}
	}
	printk("AK9 peripherals 注册 rc=%d（caps 自报面）\n", prc);
#endif
	/* K4：SD 挂载（dsdbench 同型）——ts-fs 面（fs natives + fs_paths 门）
	 * 与 CG5-B 资源推送（sys/fs-* 命令）的前提。资源根目录幂等创建。 */
	static FATFS ak_fat;
	static struct fs_mount_t ak_mp = {
		.type = FS_FATFS,
		.mnt_point = "/SD:",
		.fs_data = &ak_fat,
	};
	int mr = fs_mount(&ak_mp);

	if (mr != 0 && mr != -EALREADY) {
#ifdef ATKBENCH_SKIP_PERIPH_FAIL
		/* TLS-E2E 助推（cmake 旗标）：SD 物理失联降级为告警——外设判据
		 * 缺省仍 FAIL；本旗标仅解锁 net/TLS 主链判据（plan v1.104）。 */
		printk("AK WARN sd mount r=%d（SKIP_PERIPH——TLS E2E 降级）\n", mr);
#else
		printk("AK FAIL sd mount r=%d\n", mr);
		return 1;
#endif
	}
	fs_mkdir("/SD:/res");
	struct fs_dirent de;

	if (fs_stat("/SD:/res", &de) == 0) {
		printk("AK7 SD mounted%s（/SD:/res 就绪）\n",
		       mr == -EALREADY ? " (already)" : "");
	} else {
		printk("AK7 SD mounted 但 /SD:/res 创建失败\n");
	}
	ak_local_input_init(); /* F1/F2 设备形态批：本地交互源 */
	/* F3-1（DEC-62②）：LCD bring-up——呈现失败如实上报但不阻塞 bench
	 * 主链（无屏/背光链路故障 ≠ 部署链故障；判据 = AKU1 行 + 屏上开机画面） */
	int urc = ak_ui_init();

	printk("AKU1 LCD+LVGL init rc=%d（0=OK——屏应显示开机画面）\n", urc);
	/* F3-2 安装闸事件订阅（呈现 + 手势模态数据面；pub.c 外发 …/sys/event） */
	{
		static const ts_evt_id_t gids[] = {
			TS_EVT_PENDING_INSTALL, TS_EVT_INSTALL_CONFIRMED,
			TS_EVT_INSTALL_REJECTED, TS_EVT_INSTALL_TIMEOUT,
		};

		for (size_t gi = 0; gi < sizeof(gids) / sizeof(gids[0]); gi++) {
			(void)ts_evt_subscribe(gids[gi], ak_gate_evt, NULL);
		}
	}
	ts_core_boot(); /* noreturn：net_init → zenoh 命令面 + 步骤 8 slot 装载 */
	return 0;
}
```

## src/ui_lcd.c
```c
/* SPDX-License-Identifier: Apache-2.0
 * F3-1（DEC-62②）：atkbench LCD 呈现面实现（LVGL 9.5 @ Zephyr 4.5 glue）。
 *
 * 硬件链（树内板事实 + K2 域）：
 *   ST7789V 320x240 并口（esp32 lcd_cam MIPI-DBI 8080 8-bit——板 DTS
 *   chosen zephyr,display 已挂，驱动 CONFIG_ST7789V/MIPI_DBI_ESP32 随
 *   DT 节点默认 y）；背光 = LCD_BL（XL9555 port0 bit7 高有效——Awinic
 *   交错寄存器图 OP0=0x02/CF0=0x06，与 es8311.c SPK_EN 的 OP1=0x03/
 *   CF1=0x07 同图）。pca9555 树内驱动在本载体禁用（K2 缓存互踩规避），
 *   背光同走裸 I2C。
 *
 * LVGL 线程纪律：lv_* 仅 UI 线程（prio 12——低于 APP 10/net 8，F6 教训：
 * UI 永不抢占业务线程）；跨线程经 ak_ui_screen 入队。
 */
#include <stdio.h>
#include <string.h>

#include <zephyr/device.h>
#include <zephyr/devicetree.h>
#include <zephyr/drivers/display.h>
#include <zephyr/drivers/i2c.h>
#include <zephyr/kernel.h>

#include <lvgl.h>

#include "ui_lcd.h"

#define AK_UI_LINES 12
#define AK_UI_LINE_LEN 40
#define AK_UI_TITLE_LEN 32

#define XL9555_ADDR 0x20
#define XL9555_OP0 0x02 /* 输出寄存器 port0（Awinic 交错图） */
#define XL9555_CF0 0x06 /* 方向寄存器 port0（1=输入） */

struct ak_ui_msg {
	uint8_t n;
	char title[AK_UI_TITLE_LEN];
	char line[AK_UI_LINES][AK_UI_LINE_LEN];
};

K_MSGQ_DEFINE(ak_ui_q, sizeof(struct ak_ui_msg), 2, 4);

static K_THREAD_STACK_DEFINE(ak_ui_stack, 4096);
static struct k_thread ak_ui_tid;
static lv_obj_t *ak_title;
static lv_obj_t *ak_body;
static lv_obj_t *ak_status;
static atomic_t ak_ui_on;

static int ak_bl_on(void)
{
	const struct device *i2c = DEVICE_DT_GET(DT_NODELABEL(i2c0));

	if (!device_is_ready(i2c)) {
		return -ENODEV;
	}
	/* P0-7 → 输出方向，再置高（LCD_BL 高有效——板 DTS lcd_bl regulator） */
	if (i2c_reg_update_byte(i2c, XL9555_ADDR, XL9555_CF0, BIT(7), 0) != 0 ||
	    i2c_reg_update_byte(i2c, XL9555_ADDR, XL9555_OP0, BIT(7), BIT(7)) != 0) {
		return -EIO;
	}
	return 0;
}

int ak_ui_screen(const char *title, const char *const *lines, uint8_t n)
{
	if (!atomic_get(&ak_ui_on)) {
		return -EAGAIN;
	}
	if (title == NULL || lines == NULL || n == 0 || n > AK_UI_LINES) {
		return -EINVAL;
	}

	struct ak_ui_msg m = {.n = n};

	strncpy(m.title, title, AK_UI_TITLE_LEN - 1);
	for (uint8_t i = 0; i < n; i++) {
		strncpy(m.line[i], lines[i], AK_UI_LINE_LEN - 1);
	}
	return (k_msgq_put(&ak_ui_q, &m, K_NO_WAIT) == 0) ? 0 : -ENOMSG;
}

static void ak_ui_apply(const struct ak_ui_msg *m)
{
	lv_label_set_text(ak_title, m->title);

	static char body[AK_UI_LINES * AK_UI_LINE_LEN];

	body[0] = '\0';
	for (uint8_t i = 0; i < m->n; i++) {
		strcat(body, m->line[i]);
		strcat(body, "\n");
	}
	lv_label_set_text(ak_body, body);
}

void ak_ui_thread_fn(void *p1, void *p2, void *p3)
{
	ARG_UNUSED(p1);
	ARG_UNUSED(p2);
	ARG_UNUSED(p3);

	struct ak_ui_msg m;
	uint32_t last_status = UINT32_MAX;

	for (;;) {
		if (k_msgq_get(&ak_ui_q, &m, K_MSEC(50)) == 0) {
			ak_ui_apply(&m);
		}

		/* 状态行（1Hz）：心跳节拍 + 队列深度——屏上可见「UI 活着」 */
		uint32_t now = k_uptime_get_32() / 1000;

		if (now != last_status) {
			last_status = now;
			static char st[AK_UI_LINE_LEN];

			snprintf(st, sizeof(st), "UI up %us", (unsigned)now);
			lv_label_set_text(ak_status, st);
		}
		lv_timer_handler();
	}
}

int ak_ui_init(void)
{
	int rc = ak_bl_on();

	if (rc != 0) {
		return rc;
	}

	const struct device *disp = DEVICE_DT_GET(DT_CHOSEN(zephyr_display));

	if (!device_is_ready(disp)) {
		return -ENODEV;
	}

	struct display_capabilities cap;

	display_get_capabilities(disp, &cap);
	display_blanking_off(disp);

	/* 开机画面：三段布局（标题/正文/状态行）——LVGL 9 屏幕 API */
	lv_obj_t *scr = lv_screen_active();

	lv_obj_set_style_bg_color(scr, lv_color_hex(0x101018), 0);

	ak_title = lv_label_create(scr);
	lv_obj_set_style_text_color(ak_title, lv_color_hex(0x62d6ff), 0);
	lv_label_set_text(ak_title, "TESSERA atkbench");
	lv_obj_align(ak_title, LV_ALIGN_TOP_LEFT, 8, 6);

	ak_body = lv_label_create(scr);
	lv_obj_set_style_text_color(ak_body, lv_color_hex(0xd8d8d8), 0);
	lv_label_set_text(ak_body,
			  "F3-1 LCD bring-up\n"
			  "ST7789V lcd_cam parallel\n"
			  "LVGL 9.5");
	lv_obj_align(ak_body, LV_ALIGN_TOP_LEFT, 8, 34);

	ak_status = lv_label_create(scr);
	lv_obj_set_style_text_color(ak_status, lv_color_hex(0x707070), 0);
	lv_label_set_text(ak_status, "UI up 0s");
	lv_obj_align(ak_status, LV_ALIGN_BOTTOM_LEFT, 8, -6);

	atomic_set(&ak_ui_on, 1);
	k_thread_create(&ak_ui_tid, ak_ui_stack, K_THREAD_STACK_SIZEOF(ak_ui_stack),
			ak_ui_thread_fn, NULL, NULL, NULL, 12, 0, K_NO_WAIT);

	return (cap.x_resolution && cap.y_resolution) ? 0 : -ENODEV;
}
```

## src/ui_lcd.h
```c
/* SPDX-License-Identifier: Apache-2.0
 * F3-1（DEC-62②）：atkbench LCD 呈现面（LVGL @ ST7789V 320x240 并口）。
 * 设备形态胶水——框架 F3-2 只提供 pending 状态机/事件，本模块是纯呈现。
 * 线程纪律：LVGL 非线程安全——一切 lv_* 调用仅在 UI 线程内；其他线程
 * 经 ak_ui_screen() 入队（k_msgq 编排，投递即返回不阻塞调用方）。
 * 文本面 ASCII（Montserrat 14；CJK 字库 V1 不入——判据行/manifest 字段
 * 均为 ASCII）。
 */
#pragma once

#include <stdint.h>

/* 初始化：背光 XL9555 P0-7 高有效（裸 I2C——pca9555 驱动禁用纪律同
 * es8311.c SPK_EN）+ 默认屏引用 + 开机画面 + UI 线程起搏。
 * 返回 0 = OK；<0 = 如实失败（无屏/背光链路失败不阻塞 bench 主链）。 */
int ak_ui_init(void);

/* 多行文本屏（≤AK_UI_LINES 行，每行截断 AK_UI_LINE_LEN-1）。任意线程
 * 可调；返回 0 = 已入队，-1 = 队满（如实）。 */
int ak_ui_screen(const char *title, const char *const *lines, uint8_t n);

/* UI 线程节拍（lv_timer_handler + 队列应用 + 状态行刷新）——仅 UI 线程
 * 内部使用（ak_ui_init 内 K_THREAD_DEFINE 自起）。 */
void ak_ui_thread_fn(void *p1, void *p2, void *p3);
```
